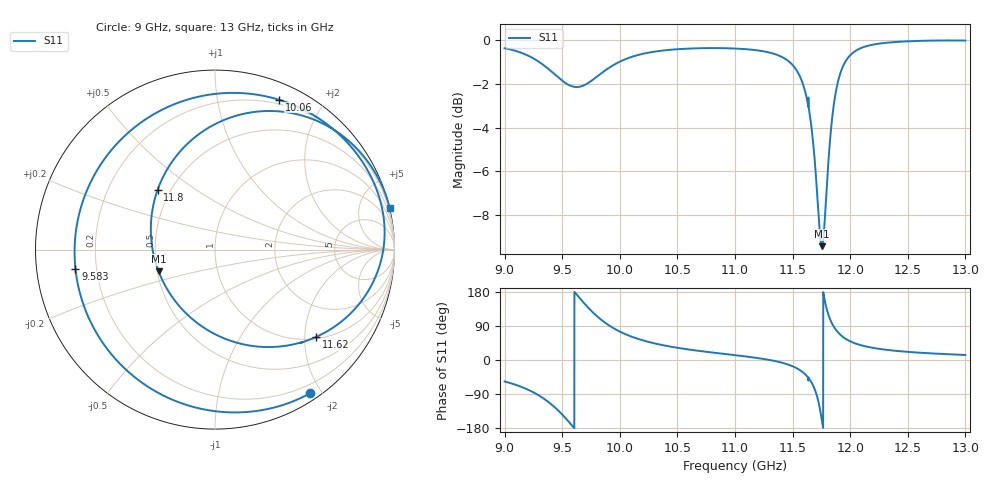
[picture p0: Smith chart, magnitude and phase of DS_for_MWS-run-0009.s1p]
! TOUCHSTONE file generated by CST DESIGN STUDIO
! Date and time: Tue Feb  4 16:42:44 2025
! Project name: C:\Work\MatlabApps\UnitCellOptimizationMatlab\CST\unitcell.cst
! Tree item: Tasks\Sweep1\SPara1\S-Parameters
! Header version: 2024
! Port assignment regex: !\s*Touchstone port\s*([0-9]+)\s*=\s*(CST MWS port|CST DES external port|CST DES block port)\s*(.+)\s* \(\"(.*)\"\)(\s*mode\s*([0-9]+))?.*
! Touchstone port assignment:
! Touchstone port 1 = CST DES external port 1 ("")
# GHz S MA R 50
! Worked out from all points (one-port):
!   4001 points, 9 GHz to 13 GHz, reference 50 ohm
!   lowest |S11| = -9.5 dB at 11.75 GHz (marker M1), VSWR 2.02, Z = 25.4 - j6.96 ohm
!   |S11| at or under -10 dB: nowhere
!   S11 on the Smith chart (normalised r, x): 9 GHz: 0.09, -1.86; 9.583 GHz: 0.12, -0.07; 10.06 GHz: 0.16, +1.50; 11.62 GHz: 1.04, -2.28; 11.8 GHz: 0.42, +0.36; 13 GHz: 0.01, +8.58
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9  0.9598 -56.6
9.157  0.9343 -72.3
9.308  0.8895 -95.5
9.408  0.8479 -117.6
9.5  0.8084 -143.9
9.583  0.785 -172.1
9.674  0.7859 155.5
9.786  0.8198 119.9
9.882  0.8567 96.3
10  0.894 75.0
10.058  0.9079 66.9
10.25  0.9376 47.6
10.5  0.9547 32.2
11  0.9582 12.8
11.305  0.9372 -0.2
11.5  0.8781 -16.5
11.619  0.7445 -40.8
11.695  0.5189 -79.6
11.724  0.4024 -109.7
11.754  0.3368 -158.9
11.797  0.4622 133.7
11.833  0.6235 102.2
11.872  0.7533 81.3
11.932  0.8655 62.0
12  0.9248 49.3
12.178  0.9758 33.1
12.5  0.9956 21.5
13  0.9996 13.3
